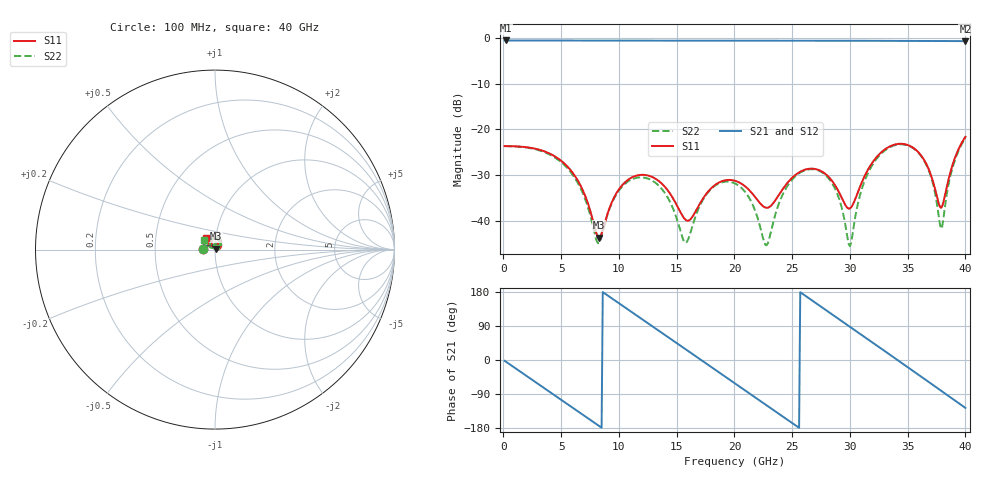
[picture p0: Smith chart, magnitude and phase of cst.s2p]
! thru_BV_vna_rf_hblb1_out: 2×thru In2.Cu, 8 mm
! stackup: as the board case
! ports: 1 near, 2 far
! CST Studio Suite 2025.5 Release from 2025-05-30, time domain (FIT, hexahedral, PBA), 199206 mesh cells, 42 s
! mesh: {'lpw': 20, 'lpb': 20, 'minstep': 0.0, 'ratio': 20}; ports: port 1 (face); port 2 (face)
! interpolated from CST's 1001 samples to the case grid
# Hz S RI R 50
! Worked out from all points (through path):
!   400 points, 100 MHz to 40 GHz, reference 50 ohm
!   highest |S21| = -0.60 dB at 200 MHz (marker M1); lowest = -0.8 dB at 40 GHz (marker M2)
!   group delay of S21, straight-line fit = 58.7 ps
!   lowest |S11| = -43.5 dB at 8.3 GHz (marker M3), VSWR 1.01, Z = 50.4 + j0.502 ohm
!   |S11| at or under -10 dB: start of sweep to end of sweep
!   |S22| runs from -45.4 to -21.8 dB; largest |S21 - S12| = 4.1e-07
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1e8  -0.0658 0.00352  0.9323 -0.0343  0.9323 -0.0343  -0.0658 0.00351
2e8  -0.0655 0.00703  0.9305 -0.0685  0.9305 -0.0685  -0.0655 0.00701
3.7e9  0.0165 0.0544  0.1956 -0.9104  0.1956 -0.9104  0.0166 0.053
6.8e9  0.0226 0.00247  -0.7418 -0.5594  -0.7418 -0.5594  0.0212 0.00128
8.3e9  0.00442 0.00497  -0.9243 -0.0897  -0.9243 -0.0897  0.0035 0.0047
1.04e10  0.00603 0.0249  -0.7263 0.579  -0.7263 0.579  0.00711 0.0237
1.34e10  0.0246 0.0129  0.1879 0.9102  0.1879 0.9102  0.0235 0.00794
1.58e10  0.0078 0.00674  0.8219 0.4333  0.8219 0.4333  0.00381 0.0044
1.77e10  0.00441 0.0205  0.9075 -0.1966  0.9075 -0.1966  0.00284 0.0204
2.01e10  0.0173 0.0213  0.4244 -0.8255  0.4244 -0.8255  0.0189 0.0173
2.28e10  0.00589 0.0127  -0.4609 -0.8059  -0.4609 -0.8059  0.00151 0.00528
2.45e10  -0.000851 0.0254  -0.8463 -0.3819  -0.8463 -0.3819  -0.00804 0.0218
2.67e10  0.0139 0.0348  -0.8585 0.3522  -0.8585 0.3522  0.011 0.0353
2.87e10  0.0165 0.0185  -0.3959 0.838  -0.3959 0.838  0.0177 0.0144
3e10  0.000747 0.0138  0.0371 0.9253  0.0371 0.9253  -0.000162 0.00535
3.13e10  -0.0161 0.0271  0.4613 0.8023  0.4613 0.8023  -0.022 0.0174
3.34e10  -0.00536 0.0646  0.892 0.2456  0.892 0.2456  -0.0162 0.0614
3.63e10  0.0334 0.0363  0.6338 -0.6725  0.6338 -0.6725  0.0315 0.037
3.72e10  0.0193 0.0189  0.3747 -0.8436  0.3747 -0.8436  0.0194 0.0163
3.79e10  -0.000485 0.014  0.1422 -0.9108  0.1422 -0.9108  -0.000552 0.00826
3.88e10  -0.0288 0.0247  -0.1682 -0.9043  -0.1682 -0.9043  -0.0314 0.0155
4e10  -0.0501 0.0665  -0.5444 -0.7374  -0.5444 -0.7374  -0.0585 0.056
